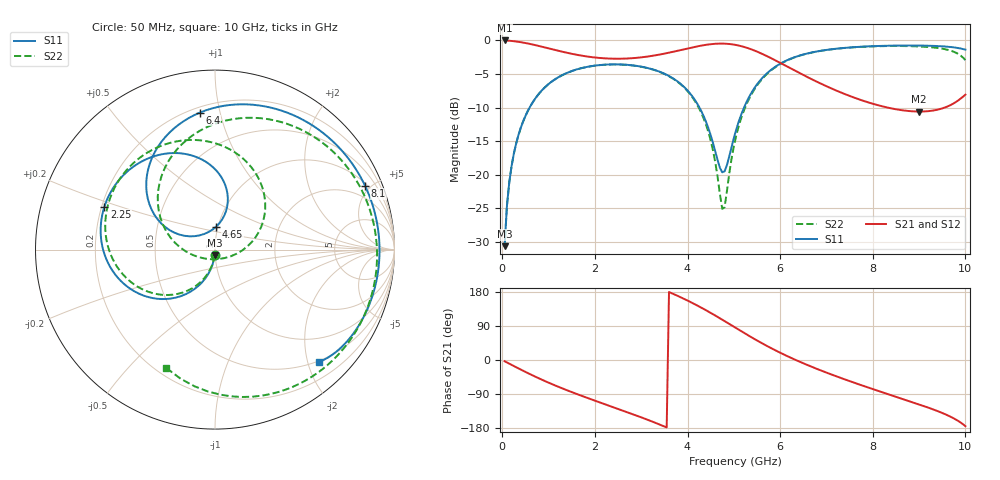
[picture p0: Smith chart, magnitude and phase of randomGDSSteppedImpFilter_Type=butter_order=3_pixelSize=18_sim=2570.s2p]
! freq	dB(S11)	phase(S11)	dB(S12)	phase(S12)
!  dB(S21)	phase(S21)	dB(S22)	phase(S22)
!S-par simulation data
#  GHz  S  DB  R 50
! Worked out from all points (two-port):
!   200 points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, 50 MHz to 10 GHz, reference 50 ohm
!   highest |S21| = -0.01 dB at 50 MHz (marker M1); lowest = -10.6 dB at 9 GHz (marker M2)
!   |S21| within 3 dB of the highest: start of sweep to 5.907 GHz
!   lowest |S11| = -30.6 dB at 50 MHz (marker M3), VSWR 1.06, Z = 49.8 - j2.92 ohm
!   |S11| at or under -10 dB: start of sweep to 590.1 MHz; 4.257 GHz to 5.22 GHz (963.2 MHz wide, 20.3 % of centre)
!   |S22| runs from -30.6 to -0.8 dB; largest |S21 - S12| = 0
!   S11 on the Smith chart (normalised r, x): 50 MHz: 1.00, -0.06; 2.25 GHz: 0.21, +0.18; 4.65 GHz: 0.98, +0.26; 6.4 GHz: 0.23, +0.87; 8.1 GHz: 1.15, +4.66; 10 GHz: 0.48, -2.21
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0.05  -30.64 -93.2  -0.01 -3.3  -0.01 -3.3  -30.64 -93.5
0.1  -24.65 -96.4  -0.02 -6.5  -0.02 -6.5  -24.65 -97.1
0.2  -18.72 -102.7  -0.08 -12.9  -0.08 -12.9  -18.73 -104.0
0.5  -11.24 -120.5  -0.39 -31.5  -0.39 -31.5  -11.25 -123.6
1.05  -6.22 -149.8  -1.27 -62.5  -1.27 -62.5  -6.22 -156.3
1.75  -4.06 178.9  -2.31 -96.2  -2.31 -96.2  -4.07 167.7
2.25  -3.60 158.8  -2.68 -118.2  -2.68 -118.2  -3.60 143.9
2.85  -3.75 135.4  -2.63 -144.5  -2.63 -144.5  -3.76 115.3
3.4  -4.67 113.0  -2.10 -170.4  -2.10 -170.4  -4.69 86.7
4.2  -9.31 79.2  -0.90 144.5  -0.90 144.5  -9.49 34.7
4.65  -17.84 87.1  -0.48 113.7  -0.48 113.7  -20.37 -22.6
4.8  -19.49 125.1  -0.48 102.7  -0.48 102.7  -24.87 -109.3
5.05  -13.31 157.2  -0.68 84.1  -0.68 84.1  -14.22 176.4
5.65  -5.34 135.0  -2.13 41.3  -2.13 41.3  -5.45 121.6
6.4  -2.30 96.3  -4.79 -3.4  -4.79 -3.4  -2.32 73.6
6.7  -1.77 82.1  -5.84 -18.8  -5.84 -18.8  -1.78 57.5
7.4  -1.11 51.4  -8.00 -51.4  -8.00 -51.4  -1.12 24.5
8.1  -0.83 22.9  -9.63 -80.8  -9.63 -80.8  -0.87 -4.9
8.35  -0.79 13.2  -10.05 -90.9  -10.05 -90.9  -0.84 -14.9
9  -0.76 -11.4  -10.59 -117.2  -10.59 -117.2  -0.90 -41.5
9.65  -0.96 -35.1  -9.73 -147.9  -9.73 -147.9  -1.46 -75.8
10  -1.37 -47.0  -8.08 -174.6  -8.08 -174.6  -2.94 -112.4
